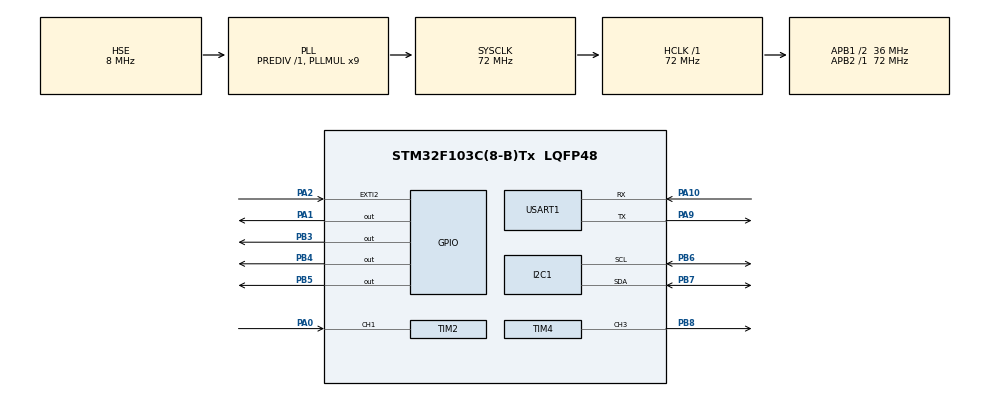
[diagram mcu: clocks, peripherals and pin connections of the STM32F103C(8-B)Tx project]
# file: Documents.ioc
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I2C1.I2C_Mode=I2C_Fast
Mcu.Family=STM32F1
Mcu.Name=STM32F103C(8-B)Tx
Mcu.Package=LQFP48
NVIC.EXTI2_IRQn=true\:0\:0\:false\:false\:true\:true\:true\:true
NVIC.PriorityGroup=NVIC_PRIORITYGROUP_4
NVIC.TIM2_IRQn=true\:0\:0\:false\:false\:true\:true\:true\:true
NVIC.USART1_IRQn=true\:0\:0\:false\:false\:true\:true\:true\:true
PA0-WKUP.Signal=S_TIM2_CH1_ETR
PA1.Signal=GPIO_Output
PA10.Mode=Asynchronous
PA10.Signal=USART1_RX
PA13.Mode=Serial_Wire
PA13.Signal=SYS_JTMS-SWDIO
PA14.Mode=Serial_Wire
PA14.Signal=SYS_JTCK-SWCLK
PA2.GPIO_ModeDefaultEXTI=GPIO_MODE_IT_FALLING
PA2.GPIO_PuPd=GPIO_PULLUP
PA2.Signal=GPXTI2
PA9.Mode=Asynchronous
PA9.Signal=USART1_TX
PB3.GPIO_ModeDefaultOutputPP=GPIO_MODE_OUTPUT_PP
PB3.GPIO_PuPd=GPIO_NOPULL
PB3.GPIO_Speed=GPIO_SPEED_FREQ_LOW
PB3.PinState=GPIO_PIN_RESET
PB3.Signal=GPIO_Output
PB4.GPIO_ModeDefaultOutputPP=GPIO_MODE_OUTPUT_PP
PB4.GPIO_PuPd=GPIO_NOPULL
PB4.GPIO_Speed=GPIO_SPEED_FREQ_LOW
PB4.PinState=GPIO_PIN_RESET
PB4.Signal=GPIO_Output
PB5.GPIO_ModeDefaultOutputPP=GPIO_MODE_OUTPUT_PP
PB5.GPIO_PuPd=GPIO_NOPULL
PB5.GPIO_Speed=GPIO_SPEED_FREQ_LOW
PB5.PinState=GPIO_PIN_RESET
PB5.Signal=GPIO_Output
PB6.GPIO_Mode=GPIO_MODE_AF_OD
PB6.GPIO_Speed=GPIO_SPEED_FREQ_HIGH
PB6.Mode=I2C
PB6.Signal=I2C1_SCL
PB7.GPIO_Mode=GPIO_MODE_AF_OD
PB7.GPIO_Speed=GPIO_SPEED_FREQ_HIGH
PB7.Mode=I2C
PB7.Signal=I2C1_SDA
PB8.Signal=S_TIM4_CH3
PD0-OSC_IN.Mode=HSE-External-Oscillator
PD0-OSC_IN.Signal=RCC_OSC_IN
PD1-OSC_OUT.Mode=HSE-External-Oscillator
PD1-OSC_OUT.Signal=RCC_OSC_OUT
ProjectManager.HeapSize=0x200
ProjectManager.StackSize=0x400
ProjectManager.TargetToolchain=CMake
RCC.AHBFreq_Value=72000000
RCC.APB1CLKDivider=RCC_HCLK_DIV2
RCC.APB1Freq_Value=36000000
RCC.APB1TimFreq_Value=72000000
RCC.APB2Freq_Value=72000000
RCC.APB2TimFreq_Value=72000000
RCC.HCLKFreq_Value=72000000
RCC.PLLMUL=RCC_PLL_MUL9
RCC.PLLSourceVirtual=RCC_PLLSOURCE_HSE
RCC.SYSCLKFreq_VALUE=72000000
RCC.SYSCLKSource=RCC_SYSCLKSOURCE_PLLCLK
RCC.USBFreq_Value=72000000
SH.S_TIM2_CH1_ETR.0=TIM2_CH1,Input_Capture1_from_TI1
SH.S_TIM4_CH3.0=TIM4_CH3,PWM Generation3 CH3
TIM2.Channel-Input_Capture1_from_TI1=TIM_CHANNEL_1
TIM2.Prescaler=71
TIM4.Channel-PWM\ Generation3\ CH3=TIM_CHANNEL_3
TIM4.Period=369
TIM4.Prescaler=71
USART1.VirtualMode=VM_ASYNC
VP_TIM2_VS_ClockSourceINT.Mode=Internal
VP_TIM4_VS_ClockSourceINT.Mode=Internal
board=custom

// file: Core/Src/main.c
/* USER CODE BEGIN Header */
/**
  ******************************************************************************
  * @file           : main.c
  * @brief          : Main program body
  ******************************************************************************
  * @attention
  *
  * Copyright (c) 2026 STMicroelectronics.
  * All rights reserved.
  *
  * This software is licensed under terms that can be found in the LICENSE file
  * in the root directory of this software component.
  * If no LICENSE file comes with this software, it is provided AS-IS.
  *
  ******************************************************************************
  */
/* USER CODE END Header */
#include "main.h"

/* USER CODE BEGIN Includes */
#include "ultrasonic.h"
#include "moving_filter.h"
#include "median_filter.h"
#include "buzzer.h"
#include "led.h"
#include "fsm_alarm.h"
#include "lcd_i2c.h"
#include "button_exti.h"
#include "uart_log.h"
#include "test_led.h"
#include "test_buzzer.h"
#include "test_lcd.h"
#include "test_runner.h"
/* USER CODE END Includes */

I2C_HandleTypeDef hi2c1;

TIM_HandleTypeDef htim2;
TIM_HandleTypeDef htim4;

UART_HandleTypeDef huart1;

/* USER CODE BEGIN PV */
// Global variables
SensorData_t g_data;
Led_t g_led;
Button_t g_btn;
Buzzer_t g_buzzer;
MovingFilter_t g_filter;
/* USER CODE END PV */

void SystemClock_Config(void);
static void MX_GPIO_Init(void);
static void MX_I2C1_Init(void);
static void MX_TIM2_Init(void);
static void MX_TIM4_Init(void);
static void MX_USART1_UART_Init(void);

int main(void)
{

  /* MCU Configuration--------------------------------------------------------*/

  /* Reset of all peripherals, Initializes the Flash interface and the Systick. */
  HAL_Init();

  /* Configure the system clock */
  SystemClock_Config();

  /* Initialize all configured peripherals */
  MX_GPIO_Init();
  MX_I2C1_Init();
  MX_TIM2_Init();
  MX_TIM4_Init();
  MX_USART1_UART_Init();
/* USER CODE BEGIN 2 */
  LED_Init (&g_led,
            GPIOB, GPIO_PIN_5, //green = PB5
            GPIOB, GPIO_PIN_4, // yellow = PB4
            GPIOB, GPIO_PIN_3); // red = PB3

  Buzzer_Init (&g_buzzer, &htim4, TIM_CHANNEL_3); // buzzer = TIM4_CH3

  Ultrasonic_Init();

  MovingFilter_Init(&g_filter);

  FSM_Init (&g_led, &g_buzzer);

  Button_Init (&g_btn, GPIOA, GPIO_PIN_2); // Button = PA2

  //Protocol (not merge yet)
  LCD_Init();
  UART_Log_Init();

  #if ENABLE_HARDWARE_TESTBENCH
    TestRunner_RunAll();
  #endif
  /* USER CODE END 2 */

  /* Infinite loop */
  /* USER CODE BEGIN WHILE */
  while (1)
  {
    // Interrupt for checking the button
    HandleUnitButton(&g_btn, &g_data);

    //Interrupt for checking the sensor every 50ms
    if (Ultrasonic_Trigger()) {
      float raw_cm = Ultrasonic_ReadDistance();
      float filtered_cm = raw_cm;
      // if want to test one filter, comment the other one's line
      filtered_cm = MedianFilter_Update(filtered_cm); // median filter first
      filtered_cm = MovingFilter_Update(&g_filter, filtered_cm);

      FSM_Update(filtered_cm, &g_data); // Update the FSM state and filtered distance
    }

    // Led and Buzzer will always wait for being triggered
    LED_Update(&g_led, g_data.state);
    Buzzer_Update (&g_buzzer, g_data.state);

    LCD_DisplaySensorData(&g_data);
    UART_Log_Process(&g_data);

    /* USER CODE END WHILE */

  }
}

void SystemClock_Config(void)
{
  RCC_OscInitTypeDef RCC_OscInitStruct = {0};
  RCC_ClkInitTypeDef RCC_ClkInitStruct = {0};

  /** Initializes the RCC Oscillators according to the specified parameters
  * in the RCC_OscInitTypeDef structure.
  */
  RCC_OscInitStruct.OscillatorType = RCC_OSCILLATORTYPE_HSE;
  RCC_OscInitStruct.HSEState = RCC_HSE_ON;
  RCC_OscInitStruct.HSEPredivValue = RCC_HSE_PREDIV_DIV1;
  RCC_OscInitStruct.HSIState = RCC_HSI_ON;
  RCC_OscInitStruct.PLL.PLLState = RCC_PLL_ON;
  RCC_OscInitStruct.PLL.PLLSource = RCC_PLLSOURCE_HSE;
  RCC_OscInitStruct.PLL.PLLMUL = RCC_PLL_MUL9;
  if (HAL_RCC_OscConfig(&RCC_OscInitStruct) != HAL_OK)
  {
    Error_Handler();
  }

  /** Initializes the CPU, AHB and APB buses clocks
  */
  RCC_ClkInitStruct.ClockType = RCC_CLOCKTYPE_HCLK|RCC_CLOCKTYPE_SYSCLK
                              |RCC_CLOCKTYPE_PCLK1|RCC_CLOCKTYPE_PCLK2;
  RCC_ClkInitStruct.SYSCLKSource = RCC_SYSCLKSOURCE_PLLCLK;
  RCC_ClkInitStruct.AHBCLKDivider = RCC_SYSCLK_DIV1;
  RCC_ClkInitStruct.APB1CLKDivider = RCC_HCLK_DIV2;
  RCC_ClkInitStruct.APB2CLKDivider = RCC_HCLK_DIV1;

  if (HAL_RCC_ClockConfig(&RCC_ClkInitStruct, FLASH_LATENCY_2) != HAL_OK)
  {
    Error_Handler();
  }
}

static void MX_I2C1_Init(void)
{

  hi2c1.Instance = I2C1;
  hi2c1.Init.ClockSpeed = 400000;
  hi2c1.Init.DutyCycle = I2C_DUTYCYCLE_2;
  hi2c1.Init.OwnAddress1 = 0;
  hi2c1.Init.AddressingMode = I2C_ADDRESSINGMODE_7BIT;
  hi2c1.Init.DualAddressMode = I2C_DUALADDRESS_DISABLE;
  hi2c1.Init.OwnAddress2 = 0;
  hi2c1.Init.GeneralCallMode = I2C_GENERALCALL_DISABLE;
  hi2c1.Init.NoStretchMode = I2C_NOSTRETCH_DISABLE;
  if (HAL_I2C_Init(&hi2c1) != HAL_OK)
  {
    Error_Handler();
  }

}

static void MX_TIM2_Init(void)
{

  TIM_ClockConfigTypeDef sClockSourceConfig = {0};
  TIM_MasterConfigTypeDef sMasterConfig = {0};
  TIM_IC_InitTypeDef sConfigIC = {0};

  htim2.Instance = TIM2;
  htim2.Init.Prescaler = 71;
  htim2.Init.CounterMode = TIM_COUNTERMODE_UP;
  htim2.Init.Period = 65535;
  htim2.Init.ClockDivision = TIM_CLOCKDIVISION_DIV1;
  htim2.Init.AutoReloadPreload = TIM_AUTORELOAD_PRELOAD_DISABLE;
  if (HAL_TIM_Base_Init(&htim2) != HAL_OK)
  {
    Error_Handler();
  }
  sClockSourceConfig.ClockSource = TIM_CLOCKSOURCE_INTERNAL;
  if (HAL_TIM_ConfigClockSource(&htim2, &sClockSourceConfig) != HAL_OK)
  {
    Error_Handler();
  }
  if (HAL_TIM_IC_Init(&htim2) != HAL_OK)
  {
    Error_Handler();
  }
  sMasterConfig.MasterOutputTrigger = TIM_TRGO_RESET;
  sMasterConfig.MasterSlaveMode = TIM_MASTERSLAVEMODE_DISABLE;
  if (HAL_TIMEx_MasterConfigSynchronization(&htim2, &sMasterConfig) != HAL_OK)
  {
    Error_Handler();
  }
  sConfigIC.ICPolarity = TIM_INPUTCHANNELPOLARITY_RISING;
  sConfigIC.ICSelection = TIM_ICSELECTION_DIRECTTI;
  sConfigIC.ICPrescaler = TIM_ICPSC_DIV1;
  sConfigIC.ICFilter = 0;
  if (HAL_TIM_IC_ConfigChannel(&htim2, &sConfigIC, TIM_CHANNEL_1) != HAL_OK)
  {
    Error_Handler();
  }

}

static void MX_TIM4_Init(void)
{

  TIM_ClockConfigTypeDef sClockSourceConfig = {0};
  TIM_MasterConfigTypeDef sMasterConfig = {0};
  TIM_OC_InitTypeDef sConfigOC = {0};

  htim4.Instance = TIM4;
  htim4.Init.Prescaler = 71;
  htim4.Init.CounterMode = TIM_COUNTERMODE_UP;
  htim4.Init.Period = 369;
  htim4.Init.ClockDivision = TIM_CLOCKDIVISION_DIV1;
  htim4.Init.AutoReloadPreload = TIM_AUTORELOAD_PRELOAD_DISABLE;
  if (HAL_TIM_Base_Init(&htim4) != HAL_OK)
  {
    Error_Handler();
  }
  sClockSourceConfig.ClockSource = TIM_CLOCKSOURCE_INTERNAL;
  if (HAL_TIM_ConfigClockSource(&htim4, &sClockSourceConfig) != HAL_OK)
  {
    Error_Handler();
  }
  if (HAL_TIM_PWM_Init(&htim4) != HAL_OK)
  {
    Error_Handler();
  }
  sMasterConfig.MasterOutputTrigger = TIM_TRGO_RESET;
  sMasterConfig.MasterSlaveMode = TIM_MASTERSLAVEMODE_DISABLE;
  if (HAL_TIMEx_MasterConfigSynchronization(&htim4, &sMasterConfig) != HAL_OK)
  {
    Error_Handler();
  }
  sConfigOC.OCMode = TIM_OCMODE_PWM1;
  sConfigOC.Pulse = 0;
  sConfigOC.OCPolarity = TIM_OCPOLARITY_HIGH;
  sConfigOC.OCFastMode = TIM_OCFAST_DISABLE;
  if (HAL_TIM_PWM_ConfigChannel(&htim4, &sConfigOC, TIM_CHANNEL_3) != HAL_OK)
  {
    Error_Handler();
  }
  HAL_TIM_MspPostInit(&htim4);

}

static void MX_USART1_UART_Init(void)
{

  huart1.Instance = USART1;
  huart1.Init.BaudRate = 115200;
  huart1.Init.WordLength = UART_WORDLENGTH_8B;
  huart1.Init.StopBits = UART_STOPBITS_1;
  huart1.Init.Parity = UART_PARITY_NONE;
  huart1.Init.Mode = UART_MODE_TX_RX;
  huart1.Init.HwFlowCtl = UART_HWCONTROL_NONE;
  huart1.Init.OverSampling = UART_OVERSAMPLING_16;
  if (HAL_UART_Init(&huart1) != HAL_OK)
  {
    Error_Handler();
  }

}

static void MX_GPIO_Init(void)
{
  GPIO_InitTypeDef GPIO_InitStruct = {0};

  /* GPIO Ports Clock Enable */
  __HAL_RCC_GPIOD_CLK_ENABLE();
  __HAL_RCC_GPIOA_CLK_ENABLE();
  __HAL_RCC_GPIOB_CLK_ENABLE();

  /*Configure GPIO pin Output Level */
  HAL_GPIO_WritePin(GPIOA, GPIO_PIN_1, GPIO_PIN_RESET);

  /*Configure GPIO pin Output Level */
  HAL_GPIO_WritePin(GPIOB, GPIO_PIN_3|GPIO_PIN_4|GPIO_PIN_5, GPIO_PIN_RESET);

  /*Configure GPIO pin : PA1 */
  GPIO_InitStruct.Pin = GPIO_PIN_1;
  GPIO_InitStruct.Mode = GPIO_MODE_OUTPUT_PP;
  GPIO_InitStruct.Pull = GPIO_NOPULL;
  GPIO_InitStruct.Speed = GPIO_SPEED_FREQ_LOW;
  HAL_GPIO_Init(GPIOA, &GPIO_InitStruct);

  /*Configure GPIO pin : PA2 */
  GPIO_InitStruct.Pin = GPIO_PIN_2;
  GPIO_InitStruct.Mode = GPIO_MODE_IT_FALLING;
  GPIO_InitStruct.Pull = GPIO_PULLUP;
  HAL_GPIO_Init(GPIOA, &GPIO_InitStruct);

  /*Configure GPIO pins : PB3 PB4 PB5 */
  GPIO_InitStruct.Pin = GPIO_PIN_3|GPIO_PIN_4|GPIO_PIN_5;
  GPIO_InitStruct.Mode = GPIO_MODE_OUTPUT_PP;
  GPIO_InitStruct.Pull = GPIO_NOPULL;
  GPIO_InitStruct.Speed = GPIO_SPEED_FREQ_LOW;
  HAL_GPIO_Init(GPIOB, &GPIO_InitStruct);

  /* EXTI interrupt init*/
  HAL_NVIC_SetPriority(EXTI2_IRQn, 0, 0);
  HAL_NVIC_EnableIRQ(EXTI2_IRQn);

}

/* USER CODE BEGIN 4 */
void HAL_GPIO_EXTI_Callback(uint16_t GPIO_Pin)
{
  Button_EXTI_Callback(&g_btn, GPIO_Pin);
}

/* TIM input-capture callback is implemented in `ultrasonic.c`.
 * Removing the forwarding call to `Ultrasonic_CaptureCallback` which
 * was not declared/defined and caused an implicit-declaration warning.
 */
/* USER CODE END 4 */

void Error_Handler(void)
{
  __disable_irq();
  while (1)
  {
  }
}
